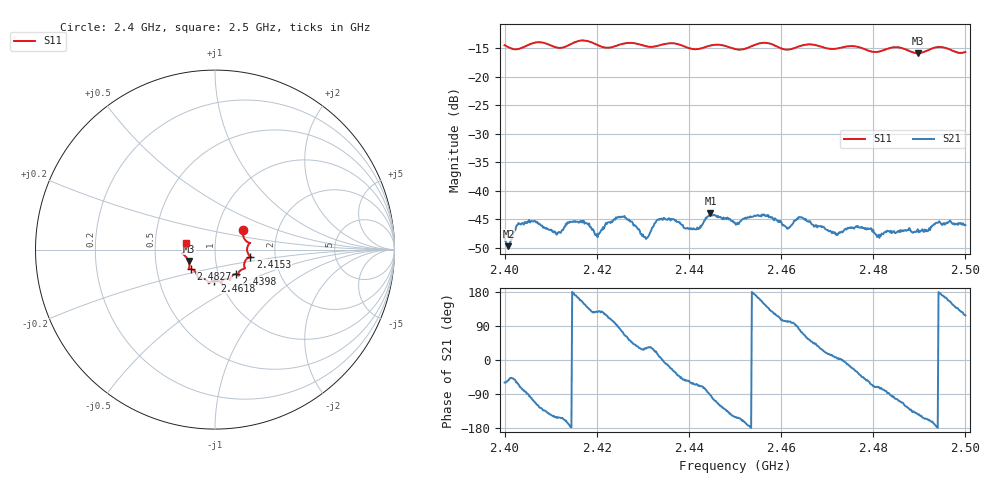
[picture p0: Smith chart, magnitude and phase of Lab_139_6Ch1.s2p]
# Hz S RI R 50
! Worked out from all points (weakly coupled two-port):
!   601 points, 2.4 GHz to 2.5 GHz, reference 50 ohm
!   highest |S21| = -43.94 dB at 2.4447 GHz (marker M1); lowest = -49.7 dB at 2.4008 GHz (marker M2)
!   lowest |S11| = -15.9 dB at 2.4897 GHz (marker M3), VSWR 1.38, Z = 36.9 - j4.85 ohm
!   |S11| at or under -10 dB: start of sweep to end of sweep
!   S12 and S22 are empty: the file has one direction only
!   S11 on the Smith chart (normalised r, x): 2.4 GHz: 1.33, +0.29; 2.4153 GHz: 1.48, -0.12; 2.4398 GHz: 1.21, -0.34; 2.4618 GHz: 0.94, -0.33; 2.4827 GHz: 0.75, -0.17; 2.5 GHz: 0.72, +0.06
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2.4e9  0.1554 0.1066  0.00198 -0.00333  0 0  0 0
2.400833e9  0.1547 0.0936  0.00193 -0.00264  0 0  0 0
2.403333e9  0.1674 0.0549  0.00163 -0.00484  0 0  0 0
2.411667e9  0.1784 0.00484  -0.00379 -0.00202  0 0  0 0
2.415333e9  0.1967 -0.0395  -0.00534 0.000864  0 0  0 0
2.416667e9  0.2025 -0.0437  -0.00499 0.0022  0 0  0 0
2.420167e9  0.1831 -0.0469  -0.00233 0.00315  0 0  0 0
2.425833e9  0.1663 -0.1011  0.00212 0.00554  0 0  0 0
2.430667e9  0.146 -0.1131  0.00328 0.00188  0 0  0 0
2.433333e9  0.1302 -0.1338  0.00547 0.00124  0 0  0 0
2.439833e9  0.1154 -0.1361  0.00265 -0.00387  0 0  0 0
2.444667e9  0.0841 -0.1672  -0.000341 -0.00635  0 0  0 0
2.45e9  0.0653 -0.162  -0.00458 -0.00254  0 0  0 0
2.456667e9  0.0392 -0.1937  -0.0049 0.00358  0 0  0 0
2.461833e9  -0.00344 -0.1731  -0.00094 0.00472  0 0  0 0
2.464e9  -0.0282 -0.1824  0.000991 0.00577  0 0  0 0
2.466667e9  -0.0351 -0.1879  0.00336 0.00381  0 0  0 0
2.471833e9  -0.0687 -0.1616  0.0041 0.00052  0 0  0 0
2.482667e9  -0.1346 -0.1083  0.000658 -0.00435  0 0  0 0
2.483333e9  -0.1398 -0.1081  0.000233 -0.00443  0 0  0 0
2.489667e9  -0.1466 -0.064  -0.00366 -0.0028  0 0  0 0
2.5e9  -0.1596 0.0382  -0.00233 0.00444  0 0  0 0
